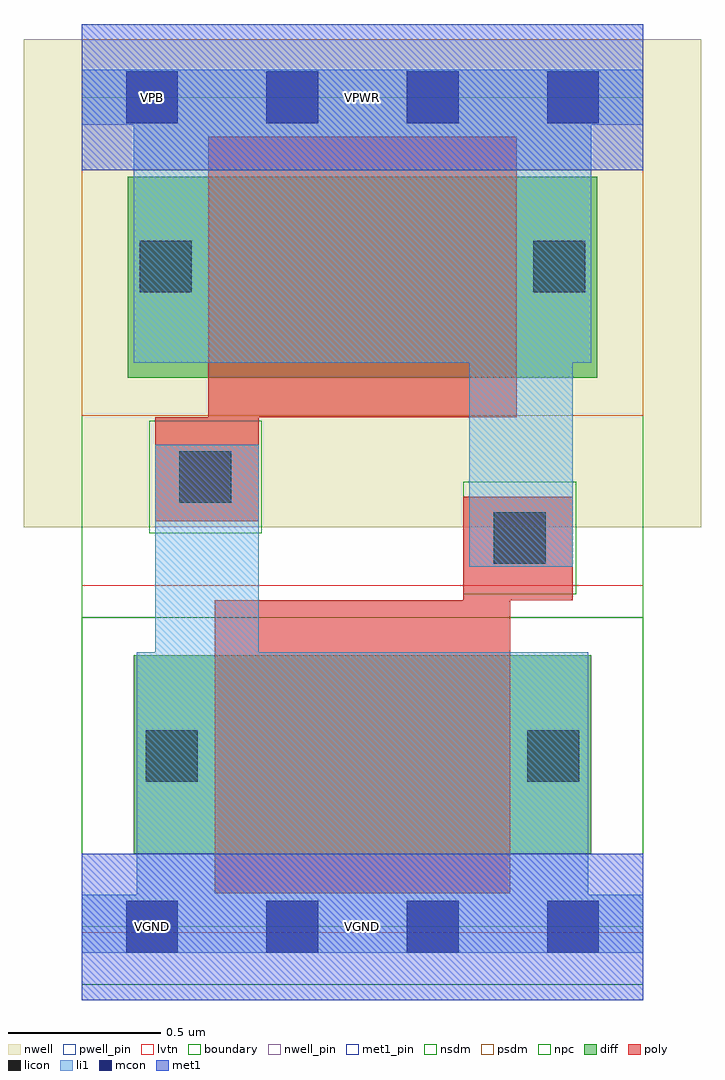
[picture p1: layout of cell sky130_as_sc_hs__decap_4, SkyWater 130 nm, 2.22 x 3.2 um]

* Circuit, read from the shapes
.subckt sky130_as_sc_hs__decap_4 VGND VNB VPB VPWR
XM1 VGND VPWR VGND VNB sky130_fd_pr__nfet_01v8_lvt w=0.65 l=0.97
XM2 VPWR VGND VPWR VPB sky130_fd_pr__pfet_01v8 w=0.66 l=1.01
.ends

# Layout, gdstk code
import gdstk
lib = gdstk.Library(unit=1e-6, precision=1e-09)
def R(c, l, rs):  # rectangles x0, y0, x1, y1
    for r in rs: c.add(gdstk.rectangle(r[:2], r[2:], *l))
def A(c, l, x, y, w, h, nx, ny, dx, dy):  # array of equal rectangles
    R(c, l, [(x+i*dx, y+j*dy, x+i*dx+w, y+j*dy+h) for i in range(nx) for j in range(ny)])
nwell_pin = (64, 16)
nwell = (64, 20)
diff = (65, 20)
poly = (66, 20)
licon = (66, 44)
li1 = (67, 20)
mcon = (67, 44)
met1_pin = (68, 16)
met1 = (68, 20)
nsdm = (93, 44)
psdm = (94, 20)
npc = (95, 20)
pwell_pin = (122, 16)
lvtn = (125, 44)
boundary = (235, 4)

sky130_as_sc_hs__decap_4 = lib.new_cell('sky130_as_sc_hs__decap_4')
R(sky130_as_sc_hs__decap_4, nwell_pin, [(0.145,2.635,0.315,2.805)])
R(sky130_as_sc_hs__decap_4, nwell, [(-0.19,1.31,2.03,2.91)])
R(sky130_as_sc_hs__decap_4, diff, [(0.17,0.24,1.67,0.89), (0.15,1.8,1.69,2.46)])
R(sky130_as_sc_hs__decap_4, poly, [(0.435,0.11,1.405,1.07), (1.25,1.07,1.61,1.41), (0.24,1.33,0.58,1.67), (0.415,1.67,1.425,2.59)])
R(sky130_as_sc_hs__decap_4, licon, [(0.21,0.475,0.38,0.645), (1.46,0.475,1.63,0.645), (1.35,1.19,1.52,1.36), (0.32,1.39,0.49,1.56), (0.19,2.08,0.36,2.25), (1.48,2.08,1.65,2.25)])
R(sky130_as_sc_hs__decap_4, li1, [(0,-0.085,1.84,0.105), (0.18,0.105,1.66,0.9), (0.24,0.9,0.58,1.58), (1.27,1.18,1.61,1.85), (0.17,1.85,1.67,2.63), (0,2.63,1.84,2.81)])
A(sky130_as_sc_hs__decap_4, mcon, 0.145, -0.085, 0.17, 0.17, 4, 2, 0.46, 2.72)
R(sky130_as_sc_hs__decap_4, met1_pin, [(0,-0.24,1.84,0.24), (0.145,-0.085,0.315,0.085), (0,2.48,1.84,2.96), (0.145,2.635,0.315,2.805)])
R(sky130_as_sc_hs__decap_4, met1, [(0,-0.24,1.84,0.24), (0,2.48,1.84,2.96)])
R(sky130_as_sc_hs__decap_4, nsdm, [(0,-0.19,1.84,1.015)])
R(sky130_as_sc_hs__decap_4, psdm, [(0,1.675,1.84,2.91)])
R(sky130_as_sc_hs__decap_4, npc, [(1.25,1.09,1.62,1.46), (0.22,1.29,0.59,1.66)])
R(sky130_as_sc_hs__decap_4, pwell_pin, [(0.145,-0.085,0.315,0.085)])
R(sky130_as_sc_hs__decap_4, lvtn, [(0,-0.02,1.84,1.12)])
R(sky130_as_sc_hs__decap_4, boundary, [(0,0,1.84,2.72)])
sky130_as_sc_hs__decap_4.add(gdstk.Label('VPB', (0.23,2.72), layer=64, texttype=5))
sky130_as_sc_hs__decap_4.add(gdstk.Label('VPB', (0.23,2.72), layer=64, texttype=5))
sky130_as_sc_hs__decap_4.add(gdstk.Label('VGND', (0.23,0), layer=68, texttype=5))
sky130_as_sc_hs__decap_4.add(gdstk.Label('VGND', (0.92,0), layer=68, texttype=5))
sky130_as_sc_hs__decap_4.add(gdstk.Label('VPWR', (0.23,2.72), layer=68, texttype=5))
sky130_as_sc_hs__decap_4.add(gdstk.Label('VPWR', (0.92,2.72), layer=68, texttype=5))
sky130_as_sc_hs__decap_4.add(gdstk.Label('VNB', (0.23,0), layer=64, texttype=59))
sky130_as_sc_hs__decap_4.add(gdstk.Label('VNB', (0.23,0), layer=64, texttype=59))

lib.write_gds('sky130_as_sc_hs__decap_4.gds')
